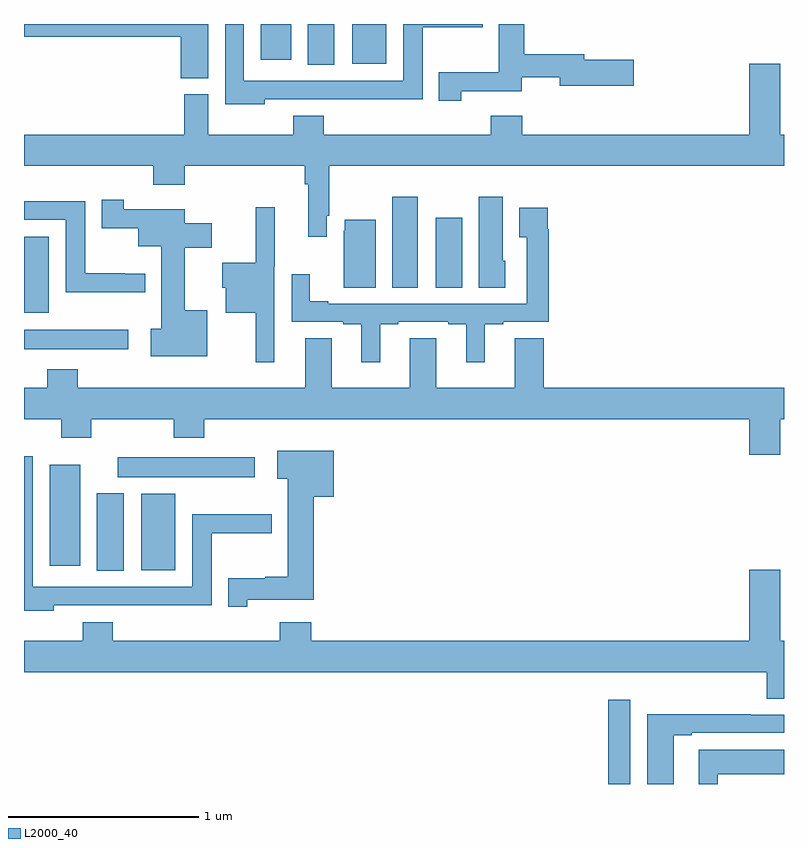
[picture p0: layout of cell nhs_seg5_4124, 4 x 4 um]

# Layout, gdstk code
import gdstk
lib = gdstk.Library(unit=1e-6, precision=1e-09)
def R(c, l, rs):  # rectangles x0, y0, x1, y1
    for r in rs: c.add(gdstk.rectangle(r[:2], r[2:], *l))
def P(c, l, *ps):  # polygons
    for p in ps: c.add(gdstk.Polygon(p, *l))
L2000_40 = (2000, 40)

nhs_seg5_4124 = lib.new_cell('nhs_seg5_4124')
R(nhs_seg5_4124, L2000_40, [(356.074,894.799,356.19,895.243), (353.384,895.921,353.524,896.329), (353.618,895.925,353.797,896.326), (353.135,895.947,353.296,896.479), (353.493,896.414,354.214,896.518), (353,897.086,353.548,897.19), (353,897.278,353.131,897.679), (354.938,897.412,355.072,897.889), (355.166,897.412,355.306,897.778), (354.494,898.585,354.634,898.799), (354.728,898.589,354.907,898.799), (354.245,898.611,354.406,898.799)])
P(nhs_seg5_4124, L2000_40, [(355.302,898.445),(355.621,898.445),(355.621,898.518),(355.82,898.518),(355.82,898.475),(356.209,898.475),(356.209,898.61),(355.948,898.61),(355.948,898.639),(355.634,898.639),(355.634,898.799),(355.499,898.799),(355.499,898.545),(355.184,898.545),(355.184,898.395),(355.302,898.395)],
  [(353.971,898.799),(353,898.799),(353,898.732),(353.825,898.732),(353.825,898.513),(353.971,898.513)],
  [(354.267,898.404),(354.661,898.404),(354.661,898.403),(355.099,898.403),(355.099,898.783),(355.414,898.783),(355.414,898.799),(354.995,898.799),(354.995,898.5),(354.156,898.5),(354.156,898.799),(354.06,898.799),(354.06,898.376),(354.267,898.376)],
  [(353.843,898.428),(353.843,898.216),(353,898.216),(353,898.052),(353.681,898.052),(353.681,897.953),(353.846,897.953),(353.846,898.052),(354.478,898.052),(354.478,897.956),(354.497,897.956),(354.497,897.678),(354.594,897.678),(354.594,897.79),(354.607,897.79),(354.607,898.052),(357,898.052),(357,898.216),(356.98,898.216),(356.98,898.591),(356.816,898.591),(356.816,898.216),(355.622,898.216),(355.622,898.315),(355.457,898.315),(355.457,898.216),(354.578,898.216),(354.578,898.315),(354.418,898.315),(354.418,898.216),(353.971,898.216),(353.971,898.428)],
  [(355.534,897.552),(355.519,897.552),(355.519,897.889),(355.394,897.889),(355.394,897.412),(355.534,897.412)],
  [(353.965,897.292),(353.845,897.292),(353.845,897.622),(353.989,897.622),(353.989,897.751),(353.845,897.751),(353.845,897.823),(353.526,897.823),(353.526,897.874),(353.408,897.874),(353.408,897.724),(353.6,897.724),(353.6,897.629),(353.723,897.629),(353.723,897.195),(353.667,897.195),(353.667,897.05),(353.965,897.05)],
  [(353.638,897.484),(353.531,897.484),(353.531,897.486),(353.323,897.486),(353.323,897.866),(353,897.866),(353,897.768),(353.219,897.768),(353.219,897.386),(353.638,897.386)],
  [(354.318,897.525),(354.32,897.525),(354.32,897.835),(354.22,897.835),(354.22,897.542),(354.044,897.542),(354.044,897.411),(354.062,897.411),(354.062,897.278),(354.22,897.278),(354.22,897.018),(354.318,897.018)],
  [(354.874,897.219),(354.97,897.219),(354.97,897.231),(355.232,897.231),(355.232,897.219),(355.328,897.219),(355.328,897.018),(355.426,897.018),(355.426,897.219),(355.522,897.219),(355.522,897.231),(355.763,897.231),(355.763,897.719),(355.756,897.719),(355.756,897.832),(355.607,897.832),(355.607,897.676),(355.647,897.676),(355.647,897.327),(354.601,897.327),(354.601,897.34),(354.505,897.34),(354.505,897.481),(354.408,897.481),(354.408,897.231),(354.68,897.231),(354.68,897.219),(354.776,897.219),(354.776,897.018),(354.874,897.018)],
  [(354.85,897.769),(354.689,897.769),(354.689,897.711),(354.683,897.711),(354.683,897.412),(354.85,897.412)],
  [(356.98,896.72),(357,896.72),(357,896.884),(355.736,896.884),(355.736,897.146),(355.583,897.146),(355.583,896.884),(355.171,896.884),(355.171,897.146),(355.031,897.146),(355.031,896.884),(354.619,896.884),(354.619,897.146),(354.479,897.146),(354.479,896.884),(353.282,896.884),(353.282,896.983),(353.122,896.983),(353.122,896.884),(353,896.884),(353,896.72),(353.195,896.72),(353.195,896.621),(353.355,896.621),(353.355,896.72),(353.788,896.72),(353.788,896.621),(353.948,896.621),(353.948,896.72),(356.816,896.72),(356.816,896.532),(356.98,896.532)],
  [(354.174,895.769),(354.524,895.769),(354.524,896.312),(354.631,896.312),(354.631,896.554),(354.333,896.554),(354.333,896.405),(354.389,896.405),(354.389,895.891),(354.27,895.891),(354.27,895.881),(354.074,895.881),(354.074,895.731),(354.174,895.731)],
  [(353.157,895.74),(353.551,895.74),(353.551,895.739),(353.989,895.739),(353.989,896.119),(354.304,896.119),(354.304,896.219),(353.885,896.219),(353.885,895.836),(353.046,895.836),(353.046,896.525),(353,896.525),(353,895.712),(353.157,895.712)],
  [(357,895.552),(356.98,895.552),(356.98,895.927),(356.816,895.927),(356.816,895.552),(354.512,895.552),(354.512,895.651),(354.347,895.651),(354.347,895.552),(353.468,895.552),(353.468,895.651),(353.308,895.651),(353.308,895.552),(353,895.552),(353,895.388),(356.909,895.388),(356.909,895.249),(357,895.249)],
  [(356.419,895.056),(356.515,895.056),(356.515,895.068),(357,895.068),(357,895.164),(356.825,895.164),(356.825,895.167),(356.279,895.167),(356.279,894.799),(356.419,894.799)],
  [(356.65,894.851),(357,894.851),(357,894.979),(356.552,894.979),(356.552,894.799),(356.65,894.799)])

lib.write_gds('nhs_seg5_4124.gds')
